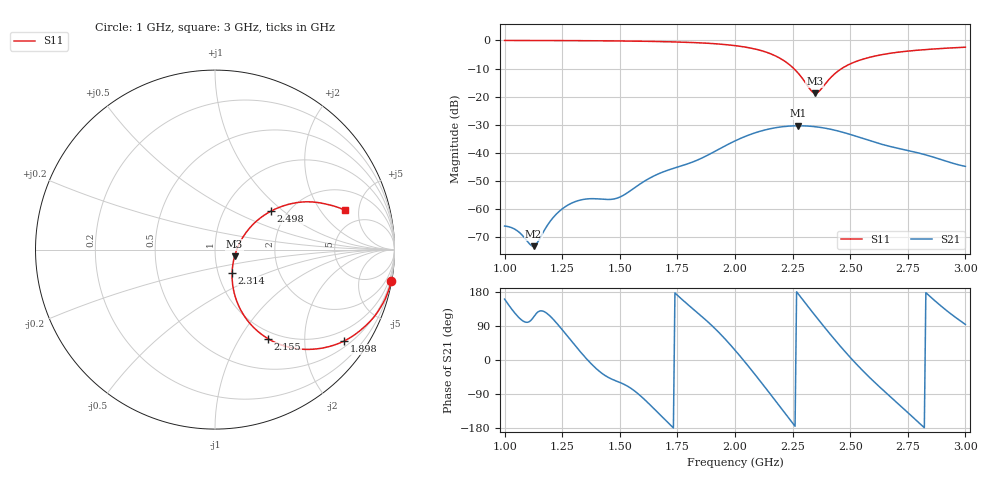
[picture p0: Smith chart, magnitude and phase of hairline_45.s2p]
! TOUCHSTONE file generated by CST MICROWAVE STUDIO
! Date and time: Tue Mar 18 20:31:56 2025
! Project name: hairline.cst
! Parameters = {B=12.5; D=160; F=25; Feed=2.85625; Fracture=2; L=100; M=30; R=0.384908; S=1.5; Theta=270; length=57.125; wave=114.25}
! Header version: 2024
! Port assignment regex: !\s*Touchstone port\s*([0-9]+)\s*=\s*(CST MWS port|CST DES external port|CST DES block port)\s*(.+)\s* \(\"(.*)\"\)(\s*mode\s*([0-9]+))?.*
! Touchstone port assignment:
! Touchstone port 1 = CST MWS port 1 ("")
! Touchstone port 2 = CST MWS port 2 ("")
# GHz S DB R 50
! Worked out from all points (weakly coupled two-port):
!   304 points, 1 GHz to 3 GHz, reference 50 ohm
!   highest |S21| = -30.34 dB at 2.274 GHz (marker M1); lowest = -73.1 dB at 1.125 GHz (marker M2)
!   lowest |S11| = -18.8 dB at 2.347 GHz (marker M3), VSWR 1.26, Z = 62 - j4.77 ohm
!   |S11| at or under -10 dB: 2.255 GHz to 2.463 GHz (208.2 MHz wide, 8.82 % of centre)
!   S12 and S22 are empty: the file has one direction only
!   S11 on the Smith chart (normalised r, x): 1 GHz: 0, -11; 1.898 GHz: 0.66, -3.01; 2.155 GHz: 0.90, -1.34; 2.314 GHz: 1.17, -0.31; 2.498 GHz: 1.65, +0.83; 3 GHz: 3.47, +3.54
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1  -0.02 -10.0  -65.98 160.6  -200.00 0.0  -200.00 0.0
1.05281  -0.03 -10.7  -67.54 117.9  -200.00 0.0  -200.00 0.0
1.12541  -0.03 -11.8  -73.13 113.0  -200.00 0.0  -200.00 0.0
1.19802  -0.05 -13.0  -64.27 115.5  -200.00 0.0  -200.00 0.0
1.23102  -0.06 -13.6  -61.21 93.7  -200.00 0.0  -200.00 0.0
1.28383  -0.08 -14.5  -58.12 54.7  -200.00 0.0  -200.00 0.0
1.33663  -0.10 -15.5  -56.60 16.1  -200.00 0.0  -200.00 0.0
1.48845  -0.19 -19.0  -56.07 -56.4  -200.00 0.0  -200.00 0.0
1.66667  -0.40 -24.4  -47.46 -139.8  -200.00 0.0  -200.00 0.0
1.89769  -1.10 -35.3  -40.10 92.0  -200.00 0.0  -200.00 0.0
2.0033  -1.89 -43.2  -35.59 23.7  -200.00 0.0  -200.00 0.0
2.15512  -4.77 -59.3  -31.36 -91.4  -200.00 0.0  -200.00 0.0
2.22112  -7.69 -66.0  -30.55 -143.5  -200.00 0.0  -200.00 0.0
2.27393  -11.62 -66.0  -30.34 174.8  -200.00 0.0  -200.00 0.0
2.31353  -15.96 -53.2  -30.43 143.8  -200.00 0.0  -200.00 0.0
2.33993  -18.53 -27.8  -30.60 123.3  -200.00 0.0  -200.00 0.0
2.34653  -18.76 -19.2  -30.66 118.2  -200.00 0.0  -200.00 0.0
2.36634  -17.98 5.2  -30.87 103.1  -200.00 0.0  -200.00 0.0
2.43894  -11.44 34.1  -32.03 49.3  -200.00 0.0  -200.00 0.0
2.49835  -8.42 34.5  -33.38 8.0  -200.00 0.0  -200.00 0.0
2.66997  -4.63 27.0  -37.63 -94.5  -200.00 0.0  -200.00 0.0
3  -2.42 16.7  -44.77 93.8  -200.00 0.0  -200.00 0.0
